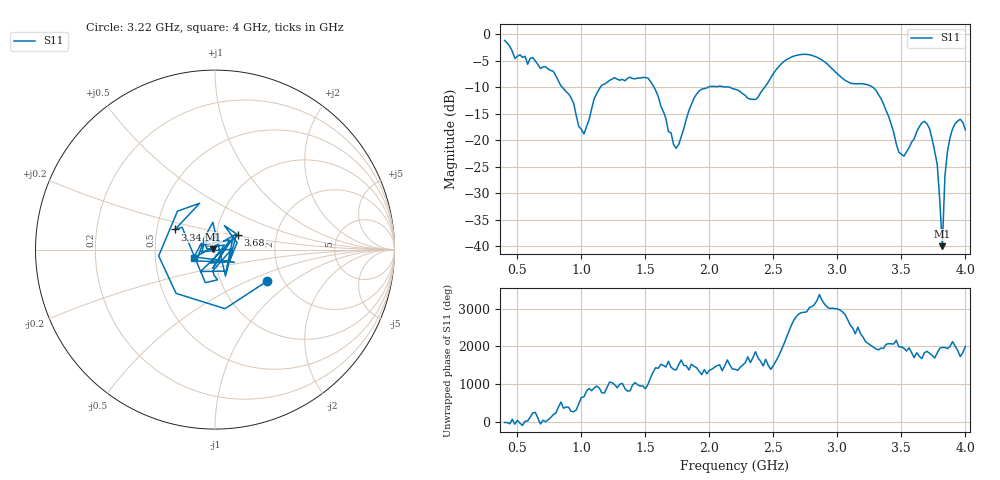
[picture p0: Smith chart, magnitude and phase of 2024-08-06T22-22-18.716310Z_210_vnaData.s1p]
!Created with skrf (http://scikit-rf.org).
# Hz S RI R 50.0
!freq ReS11 ImS11
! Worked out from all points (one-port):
!   181 points, 400 MHz to 4 GHz, reference 50 ohm
!   lowest |S11| = -40.0 dB at 3.82 GHz (marker M1), VSWR 1.02, Z = 49 + j0.102 ohm
!   |S11| at or under -10 dB: 852.3 MHz to 1.147 GHz (295.1 MHz wide, 29.5 % of centre); 1.568 GHz to 1.987 GHz (418.5 MHz wide, 23.5 % of centre); 3.279 GHz to end of sweep (the widest 3 of 4)
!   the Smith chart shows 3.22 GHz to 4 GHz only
!   S11 on the Smith chart (normalised r, x): 3.22 GHz: 1.65, -0.66; 3.34 GHz: 0.62, +0.15; 3.68 GHz: 1.27, +0.21; 4 GHz: 0.79, -0.07
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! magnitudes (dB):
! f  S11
! 400 MHz  -1.1
! 480 MHz  -4.5
! 620 MHz  -4.4
! 860 MHz  -10.2
! 1.02 GHz  -18.8
! 1.14 GHz  -10.3
! 1.3 GHz  -8.6
! 1.52 GHz  -8.2
! 1.72 GHz  -20.7
! 1.76 GHz  -20.8
! 1.92 GHz  -10.7
! 2.2 GHz  -10.3
! 2.36 GHz  -12.3
! 2.66 GHz  -4.1
! 2.86 GHz  -4.5
! 3.1 GHz  -9.2
! 3.22 GHz  -9.4
! 3.34 GHz  -12.1
! 3.48 GHz  -22.2
! 3.56 GHz  -21.4
! 3.68 GHz  -16.4
! 3.72 GHz  -17.8
! 3.78 GHz  -24.5
! 3.82 GHz  -40.0
! 3.84 GHz  -26.7
! 3.88 GHz  -19.5
! 3.96 GHz  -16.0
! 4 GHz  -18.0
